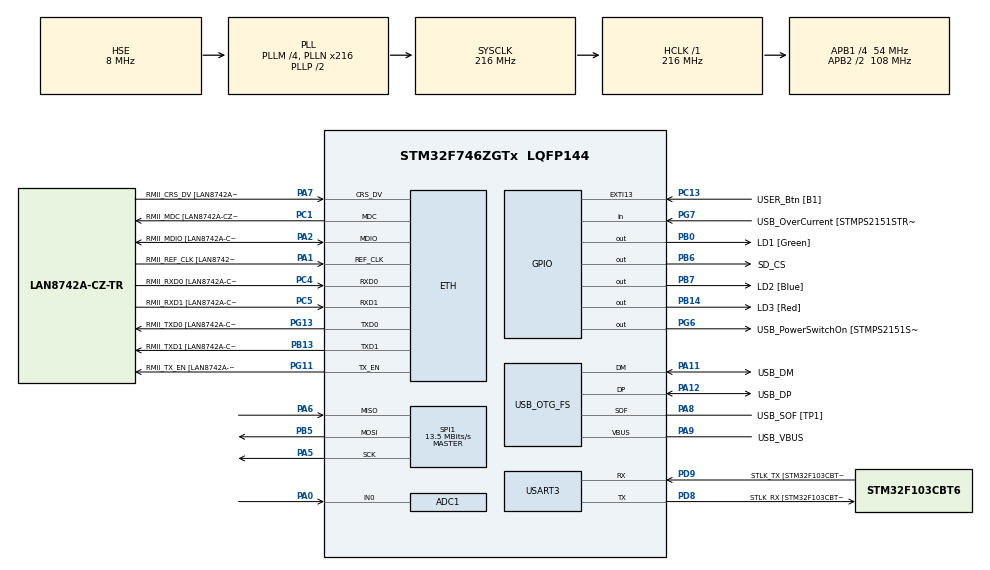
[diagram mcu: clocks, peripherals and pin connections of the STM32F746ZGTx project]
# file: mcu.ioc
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ADC1.Channel-3\#ChannelRegularConversion=ADC_CHANNEL_0
ADC1.ClockPrescaler=ADC_CLOCK_SYNC_PCLK_DIV4
ADC1.ContinuousConvMode=ENABLE
ADC1.DMAContinuousRequests=ENABLE
ADC1.NbrOfConversionFlag=1
ADC1.Rank-3\#ChannelRegularConversion=1
ADC1.SamplingTime-3\#ChannelRegularConversion=ADC_SAMPLETIME_3CYCLES
ADC1.master=1
Dma.ADC1.0.Direction=DMA_PERIPH_TO_MEMORY
Dma.ADC1.0.FIFOMode=DMA_FIFOMODE_DISABLE
Dma.ADC1.0.Instance=DMA2_Stream0
Dma.ADC1.0.MemDataAlignment=DMA_MDATAALIGN_HALFWORD
Dma.ADC1.0.MemInc=DMA_MINC_ENABLE
Dma.ADC1.0.Mode=DMA_CIRCULAR
Dma.ADC1.0.PeriphDataAlignment=DMA_PDATAALIGN_HALFWORD
Dma.ADC1.0.PeriphInc=DMA_PINC_DISABLE
Dma.ADC1.0.Priority=DMA_PRIORITY_MEDIUM
Dma.Request0=ADC1
ETH.MediaInterface=ETH_MEDIA_INTERFACE_RMII
ETH.PHY_Name=LAN8742A_PHY_ADDRESS
ETH.PHY_Value=0
ETH.PhyAddress=0
FATFS._CODE_PAGE=850
FATFS._LFN_UNICODE=0
FATFS._MAX_SS=4096
FATFS._STRF_ENCODE=3
FATFS._USE_LFN=2
FATFS._USE_MUTEX=1
FREERTOS.BinarySemaphores01=audioCaptureSemaphore,Dynamic,NULL
FREERTOS.Tasks01=defaultTask,24,128,StartDefaultTask,Default,NULL,Dynamic,NULL,NULL;audioInputTask,40,128,StartAudioInput,As weak,NULL,Dynamic,NULL,NULL
Mcu.Family=STM32F7
Mcu.Name=STM32F746ZGTx
Mcu.Package=LQFP144
NVIC.DMA2_Stream0_IRQn=true\:0\:0\:false\:false\:true\:false\:false\:true
NVIC.PriorityGroup=NVIC_PRIORITYGROUP_4
NVIC.TIM6_DAC_IRQn=true\:0\:0\:false\:false\:true\:false\:false\:true
NVIC.TimeBase=TIM6_DAC_IRQn
NVIC.TimeBaseIP=TIM6
PA0/WKUP.Signal=ADCx_IN0
PA1.GPIO_Label=RMII_REF_CLK [LAN8742A-CZ-TR_REFCLK0]
PA1.Mode=RMII
PA1.Signal=ETH_REF_CLK
PA10.GPIO_Label=USB_ID
PA10.Signal=USB_OTG_FS_ID
PA11.GPIO_Label=USB_DM
PA11.Mode=Device_Only
PA11.Signal=USB_OTG_FS_DM
PA12.GPIO_Label=USB_DP
PA12.Mode=Device_Only
PA12.Signal=USB_OTG_FS_DP
PA13.GPIO_Label=TMS
PA13.Mode=Serial_Wire
PA13.Signal=SYS_JTMS-SWDIO
PA14.GPIO_Label=TCK
PA14.Mode=Serial_Wire
PA14.Signal=SYS_JTCK-SWCLK
PA2.GPIO_Label=RMII_MDIO [LAN8742A-CZ-TR_MDIO]
PA2.Mode=RMII
PA2.Signal=ETH_MDIO
PA5.Mode=Full_Duplex_Master
PA5.Signal=SPI1_SCK
PA6.Mode=Full_Duplex_Master
PA6.Signal=SPI1_MISO
PA7.GPIO_Label=RMII_CRS_DV [LAN8742A-CZ-TR_CRS_DV]
PA7.Mode=RMII
PA7.Signal=ETH_CRS_DV
PA8.GPIO_Label=USB_SOF [TP1]
PA8.Mode=Activate_SOF_FS
PA8.Signal=USB_OTG_FS_SOF
PA9.GPIO_Label=USB_VBUS
PA9.Mode=Activate_VBUS
PA9.Signal=USB_OTG_FS_VBUS
PB0.GPIO_Label=LD1 [Green]
PB0.Signal=GPIO_Output
PB13.GPIO_Label=RMII_TXD1 [LAN8742A-CZ-TR_TXD1]
PB13.Mode=RMII
PB13.Signal=ETH_TXD1
PB14.GPIO_Label=LD3 [Red]
PB14.Signal=GPIO_Output
PB3.GPIO_Label=SW0
PB3.Signal=SYS_JTDO-SWO
PB5.Mode=Full_Duplex_Master
PB5.Signal=SPI1_MOSI
PB6.GPIO_Label=SD_CS
PB6.Signal=GPIO_Output
PB7.GPIO_Label=LD2 [Blue]
PB7.Signal=GPIO_Output
PC1.GPIO_Label=RMII_MDC [LAN8742A-CZ-TR_MDC]
PC1.Mode=RMII
PC1.Signal=ETH_MDC
PC13.GPIO_Label=USER_Btn [B1]
PC13.Signal=GPXTI13
PC14/OSC32_IN.Signal=RCC_OSC32_IN
PC15/OSC32_OUT.Signal=RCC_OSC32_OUT
PC4.GPIO_Label=RMII_RXD0 [LAN8742A-CZ-TR_RXD0]
PC4.Mode=RMII
PC4.Signal=ETH_RXD0
PC5.GPIO_Label=RMII_RXD1 [LAN8742A-CZ-TR_RXD1]
PC5.Mode=RMII
PC5.Signal=ETH_RXD1
PD8.GPIO_Label=STLK_RX [STM32F103CBT6_PA3]
PD8.Mode=Asynchronous
PD8.Signal=USART3_TX
PD9.GPIO_Label=STLK_TX [STM32F103CBT6_PA2]
PD9.Mode=Asynchronous
PD9.Signal=USART3_RX
PG11.GPIO_Label=RMII_TX_EN [LAN8742A-CZ-TR_TXEN]
PG11.Mode=RMII
PG11.Signal=ETH_TX_EN
PG13.GPIO_Label=RMII_TXD0 [LAN8742A-CZ-TR_TXD0]
PG13.Mode=RMII
PG13.Signal=ETH_TXD0
PG6.GPIO_Label=USB_PowerSwitchOn [STMPS2151STR_EN]
PG6.Signal=GPIO_Output
PG7.GPIO_Label=USB_OverCurrent [STMPS2151STR_FAULT]
PG7.Signal=GPIO_Input
PH0/OSC_IN.GPIO_Label=MCO [STM32F103CBT6_PA8]
PH0/OSC_IN.Mode=HSE-External-Oscillator
PH0/OSC_IN.Signal=RCC_OSC_IN
PH1/OSC_OUT.Mode=HSE-External-Oscillator
PH1/OSC_OUT.Signal=RCC_OSC_OUT
ProjectManager.HeapSize=0x200
ProjectManager.StackSize=0x400
ProjectManager.TargetToolchain=Makefile
RCC.48MHZClocksFreq_Value=24000000
RCC.AHBFreq_Value=216000000
RCC.APB1CLKDivider=RCC_HCLK_DIV4
RCC.APB1Freq_Value=54000000
RCC.APB1TimFreq_Value=108000000
RCC.APB2CLKDivider=RCC_HCLK_DIV2
RCC.APB2Freq_Value=108000000
RCC.APB2TimFreq_Value=216000000
RCC.CortexFreq_Value=216000000
RCC.HCLKFreq_Value=216000000
RCC.HSE_VALUE=8000000
RCC.HSI_VALUE=16000000
RCC.LSE_VALUE=32768
RCC.PLLM=4
RCC.PLLMUL=RCC_PLL_MUL9
RCC.PLLN=216
RCC.PLLQ=9
RCC.PRESCALERUSB=RCC_USBCLKSOURCE_PLL_DIV1_5
RCC.SYSCLKFreq_VALUE=216000000
RCC.SYSCLKSource=RCC_SYSCLKSOURCE_PLLCLK
RCC.SYSCLKSourceVirtual=RCC_SYSCLKSOURCE_PLLCLK
RCC.USBFreq_Value=48000000
RCC.VCOOutputFreq_Value=432000000
SH.ADCx_IN0.0=ADC1_IN0,IN0
SPI1.BaudRatePrescaler=SPI_BAUDRATEPRESCALER_8
SPI1.CalculateBaudRate=13.5 MBits/s
SPI1.DataSize=SPI_DATASIZE_8BIT
SPI1.Direction=SPI_DIRECTION_2LINES
SPI1.Mode=SPI_MODE_MASTER
SPI1.VirtualType=VM_MASTER
USART3.VirtualMode-Asynchronous=VM_ASYNC
USB_OTG_FS.VirtualMode=Device_Only
VP_FATFS_VS_Generic.Mode=User_defined
VP_FREERTOS_VS_CMSIS_V2.Mode=CMSIS_V2
VP_SYS_VS_tim6.Mode=TIM6
board=NUCLEO-F746ZG

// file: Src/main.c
/* USER CODE BEGIN Header */
/**
  ******************************************************************************
  * @file           : main.c
  * @brief          : Main program body
  ******************************************************************************
  * @attention
  *
  * <h2><center>&copy; Copyright (c) 2021 STMicroelectronics.
  * All rights reserved.</center></h2>
  *
  * This software component is licensed by ST under Ultimate Liberty license
  * SLA0044, the "License"; You may not use this file except in compliance with
  * the License. You may obtain a copy of the License at:
  *                             www.st.com/SLA0044
  *
  ******************************************************************************
  */
/* USER CODE END Header */
#include "main.h"
#include "cmsis_os.h"
#include "adc.h"
#include "dma.h"
#include "eth.h"
#include "fatfs.h"
#include "spi.h"
#include "usart.h"
#include "usb_otg.h"
#include "gpio.h"

/* USER CODE BEGIN Includes */
#include "stdio.h"
#include "string.h"
#include "fatfs_sd.h"
#include "wavlib.h"

/* USER CODE END Includes */

/* USER CODE BEGIN PD */
#define ADC_BUFFER_SIZE 32
/* USER CODE END PD */

/* USER CODE BEGIN PV */
uint16_t adc_buff[ADC_BUFFER_SIZE];

uint16_t raw;

FATFS fs;
FIL fil;
FRESULT fresult;
UINT br, bw;

FATFS *pfs;
DWORD fre_clust;
uint32_t total, free_space;

char buffer[1024];

int32_t fc = 1 * SAMPLE_RATE;
int32_t dc = 0;

wavfile_header_t header;
PCM16_stereo_t sample;

/* USER CODE END PV */

void SystemClock_Config(void);
void MX_FREERTOS_Init(void);

/* USER CODE BEGIN 0 */

extern void initialise_monitor_handles(void);

int bufsize(char *buf)
{
  int i = 0;
  while (*buf++ != '\0')
    i++;
  return i;
}

void writeWave()
{

  double frequency1 = 493.9; /*B4*/
  double amplitude1 = 0.65 * (double)SHRT_MAX;
  double frequency2 = 392.0; /*G4*/
  double amplitude2 = 0.75 * (double)SHRT_MAX;

  double duration = 10; /*seconds*/
  int32_t FrameCount = duration * SAMPLE_RATE;

  wavfile_header_t header;
  PCM16_stereo_t sample;

  printf("Begin WAV Write:\r\n");
  f_open(&fil, "test.wav", FA_OPEN_ALWAYS | FA_WRITE);

  header = get_PCM16_stereo_header(SAMPLE_RATE, FrameCount);
  f_write(&fil, &header, sizeof(wavfile_header_t), &bw);

  for (int k = 0; k < FrameCount; k++)
  {
    sample = get_dual_sawtooth_sample(frequency1, amplitude1, frequency2, amplitude2, SAMPLE_RATE, FrameCount, k);
    f_write(&fil, &sample, sizeof(PCM16_stereo_t), &bw);
  }

  f_close(&fil);
  printf("WAV Write Complete\r\n");
}

void closeFile()
{
  fresult = f_close(&fil);
  if (fresult != FR_OK)
    printf("Error Closing File | Code: %d\n", fresult);
  else
    printf("WAV File Written Successfully!\n");
  return;
}

/* USER CODE END 0 */

int main(void)
{
  /* USER CODE BEGIN 1 */
  initialise_monitor_handles();
  /* USER CODE END 1 */

  /* MCU Configuration--------------------------------------------------------*/

  /* Reset of all peripherals, Initializes the Flash interface and the Systick. */
  HAL_Init();

  /* Configure the system clock */
  SystemClock_Config();

  /* Initialize all configured peripherals */
  MX_GPIO_Init();
  MX_DMA_Init();
  MX_ADC1_Init();
  MX_ETH_Init();
  MX_SPI1_Init();
  MX_USART3_UART_Init();
  MX_USB_OTG_FS_PCD_Init();
  MX_FATFS_Init();
  /* USER CODE BEGIN 2 */
  printf("Firmware Init Complete\n");

  // Mount SD Card
  fresult = f_mount(&fs, "", 1);
  if (fresult != FR_OK)
    printf("Error Mounting SD Card | Code: %d\n", fresult);
  else
    printf("SD Card Mounted Successfully!\n");

  f_getfree("", &fre_clust, &pfs);
  total = (uint32_t)((pfs->n_fatent - 2) * pfs->csize * 0.5);
  free_space = (uint32_t)(fre_clust * pfs->csize * 0.5);
  printf("Total Size: %lu Bytes\n", total);
  printf("Free Space: %lu Bytes\n", free_space);

  // HAL_ADC_Start(&hadc1);
  // HAL_ADC_PollForConversion(&hadc1, HAL_MAX_DELAY);

  // fresult = f_open(&fil, "w.txt", FA_CREATE_ALWAYS | FA_WRITE);
  // if (fresult != FR_OK)
  //   printf("Error opening file | Code: %d\n", fresult);
  // else
  //   printf("File opened Successfully!\n");
  // /* Writing text */
  // strcpy(buffer, "This is w.txt, written using ...f_write... and it says Hello from Rohith\n");

  // fresult = f_write(&fil, buffer, bufsize(buffer), &bw);
  // if (fresult != FR_OK)
  //   printf("Error Writing to SD Card | Code: %d\n", fresult);
  // else
  //   printf("Write Success!\n");

  // f_close(&fil);

  // writeWave();

  /* USER CODE END 2 */

  /* Init scheduler */
  osKernelInitialize(); /* Call init function for freertos objects (in freertos.c) */
  MX_FREERTOS_Init();
  /* Start scheduler */
  osKernelStart();

  /* We should never get here as control is now taken by the scheduler */
  /* Infinite loop */
  while (1)
  {

  }
}

void SystemClock_Config(void)
{
  RCC_OscInitTypeDef RCC_OscInitStruct = {0};
  RCC_ClkInitTypeDef RCC_ClkInitStruct = {0};
  RCC_PeriphCLKInitTypeDef PeriphClkInitStruct = {0};

  /** Configure the main internal regulator output voltage
  */
  __HAL_RCC_PWR_CLK_ENABLE();
  __HAL_PWR_VOLTAGESCALING_CONFIG(PWR_REGULATOR_VOLTAGE_SCALE1);
  /** Initializes the RCC Oscillators according to the specified parameters
  * in the RCC_OscInitTypeDef structure.
  */
  RCC_OscInitStruct.OscillatorType = RCC_OSCILLATORTYPE_HSE;
  RCC_OscInitStruct.HSEState = RCC_HSE_ON;
  RCC_OscInitStruct.PLL.PLLState = RCC_PLL_ON;
  RCC_OscInitStruct.PLL.PLLSource = RCC_PLLSOURCE_HSE;
  RCC_OscInitStruct.PLL.PLLM = 4;
  RCC_OscInitStruct.PLL.PLLN = 216;
  RCC_OscInitStruct.PLL.PLLP = RCC_PLLP_DIV2;
  RCC_OscInitStruct.PLL.PLLQ = 9;
  if (HAL_RCC_OscConfig(&RCC_OscInitStruct) != HAL_OK)
  {
    Error_Handler();
  }
  /** Activate the Over-Drive mode
  */
  if (HAL_PWREx_EnableOverDrive() != HAL_OK)
  {
    Error_Handler();
  }
  /** Initializes the CPU, AHB and APB buses clocks
  */
  RCC_ClkInitStruct.ClockType = RCC_CLOCKTYPE_HCLK | RCC_CLOCKTYPE_SYSCLK | RCC_CLOCKTYPE_PCLK1 | RCC_CLOCKTYPE_PCLK2;
  RCC_ClkInitStruct.SYSCLKSource = RCC_SYSCLKSOURCE_PLLCLK;
  RCC_ClkInitStruct.AHBCLKDivider = RCC_SYSCLK_DIV1;
  RCC_ClkInitStruct.APB1CLKDivider = RCC_HCLK_DIV4;
  RCC_ClkInitStruct.APB2CLKDivider = RCC_HCLK_DIV2;

  if (HAL_RCC_ClockConfig(&RCC_ClkInitStruct, FLASH_LATENCY_7) != HAL_OK)
  {
    Error_Handler();
  }
  PeriphClkInitStruct.PeriphClockSelection = RCC_PERIPHCLK_USART3 | RCC_PERIPHCLK_CLK48;
  PeriphClkInitStruct.Usart3ClockSelection = RCC_USART3CLKSOURCE_PCLK1;
  PeriphClkInitStruct.Clk48ClockSelection = RCC_CLK48SOURCE_PLL;
  if (HAL_RCCEx_PeriphCLKConfig(&PeriphClkInitStruct) != HAL_OK)
  {
    Error_Handler();
  }
}

/* USER CODE BEGIN 4 */
void StartAudioInput(void *argument)
{
  for (;;)
  {
    osSemaphoreAcquire(audioCaptureSemaphoreHandle, osWaitForever);
    printf("Starting ADC DMA for Microphone\n");
    printf("Begin WAV Write:\r\n");
    f_open(&fil, "wololo.wav", FA_OPEN_ALWAYS | FA_WRITE);

    header = get_PCM16_stereo_header(SAMPLE_RATE, fc);
    fresult = f_write(&fil, &header, sizeof(wavfile_header_t), &bw);
    if (fresult != FR_OK)
      printf("Error Writing Header to SD Card | Code: %d\n", fresult);
    else
      printf("Wrote Header to SD Card\n");
    f_sync(&fil);

    // HAL_ADC_Start(&hadc1);
    // HAL_ADC_PollForConversion(&hadc1, HAL_MAX_DELAY);

    HAL_ADC_Start_DMA(&hadc1, (uint32_t *)adc_buff, ADC_BUFFER_SIZE);
  }
}

void HAL_ADC_ConvHalfCpltCallback(ADC_HandleTypeDef *hadc)
{
  if (dc < fc)
  {
    printf("Frames Done: %lu\n", dc);
    for (int i = 0; i < ADC_BUFFER_SIZE / 2; i++)
    {
      sample.left = adc_buff[i];
      sample.right = sample.left;
      dc++;
      fresult = f_write(&fil, &sample, sizeof(PCM16_stereo_t), &bw);
      if (fresult != FR_OK)
        printf("Error Writing to SD Card | Code: %d\n", fresult);
    }
  }
  else
  {
    HAL_ADC_Stop_DMA(&hadc1);
    printf("ADC DMA Stopped\n");
    closeFile();
  }
}
void HAL_ADC_ConvCpltCallback(ADC_HandleTypeDef *hadc)
{
  if (dc < fc)
  {
    printf("Frames Done: %lu\n", dc);
    for (int i = ADC_BUFFER_SIZE / 2; i < ADC_BUFFER_SIZE; i++)
    {
      sample.left = adc_buff[i];
      sample.right = sample.left;
      dc++;
      fresult = f_write(&fil, &sample, sizeof(PCM16_stereo_t), &bw);
      if (fresult != FR_OK)
        printf("Error Writing to SD Card | Code: %d\n", fresult);
    }
  }
  else
  {
    HAL_ADC_Stop_DMA(&hadc1);
    printf("ADC DMA Stopped\n");
    closeFile();
  }
}
/* USER CODE END 4 */

void HAL_TIM_PeriodElapsedCallback(TIM_HandleTypeDef *htim)
{
  if (htim->Instance == TIM6)
  {
    HAL_IncTick();
  }
}

void Error_Handler(void)
{
}

/************************ (C) COPYRIGHT STMicroelectronics *****END OF FILE****/

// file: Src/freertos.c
/* USER CODE BEGIN Header */
/**
  ******************************************************************************
  * File Name          : freertos.c
  * Description        : Code for freertos applications
  ******************************************************************************
  * @attention
  *
  * <h2><center>&copy; Copyright (c) 2021 STMicroelectronics.
  * All rights reserved.</center></h2>
  *
  * This software component is licensed by ST under Ultimate Liberty license
  * SLA0044, the "License"; You may not use this file except in compliance with
  * the License. You may obtain a copy of the License at:
  *                             www.st.com/SLA0044
  *
  ******************************************************************************
  */
/* USER CODE END Header */

#include "FreeRTOS.h"
#include "task.h"
#include "main.h"
#include "cmsis_os.h"

/* Definitions for defaultTask */
osThreadId_t defaultTaskHandle;
const osThreadAttr_t defaultTask_attributes = {
    .name = "defaultTask",
    .priority = (osPriority_t)osPriorityNormal,
    .stack_size = 128 * 4};
/* Definitions for audioInputTask */
osThreadId_t audioInputTaskHandle;
const osThreadAttr_t audioInputTask_attributes = {
    .name = "audioInputTask",
    .priority = (osPriority_t)osPriorityHigh,
    .stack_size = 128 * 4};
/* Definitions for audioCaptureSemaphore */
osSemaphoreId_t audioCaptureSemaphoreHandle;
const osSemaphoreAttr_t audioCaptureSemaphore_attributes = {
    .name = "audioCaptureSemaphore"};

void StartDefaultTask(void *argument);
void StartAudioInput(void *argument);

void MX_FREERTOS_Init(void); /* (MISRA C 2004 rule 8.1) */

void MX_FREERTOS_Init(void)
{

  /* Create the semaphores(s) */
  /* creation of audioCaptureSemaphore */
  audioCaptureSemaphoreHandle = osSemaphoreNew(1, 1, &audioCaptureSemaphore_attributes);

  /* Create the thread(s) */
  /* creation of defaultTask */
  defaultTaskHandle = osThreadNew(StartDefaultTask, NULL, &defaultTask_attributes);

  /* creation of audioInputTask */
  audioInputTaskHandle = osThreadNew(StartAudioInput, NULL, &audioInputTask_attributes);

}

void StartDefaultTask(void *argument)
{
  for (;;)
  {
    osDelay(1);
  }
}

__weak void StartAudioInput(void *argument)
{
  for (;;)
  {
    osDelay(1);
  }
}

/************************ (C) COPYRIGHT STMicroelectronics *****END OF FILE****/
